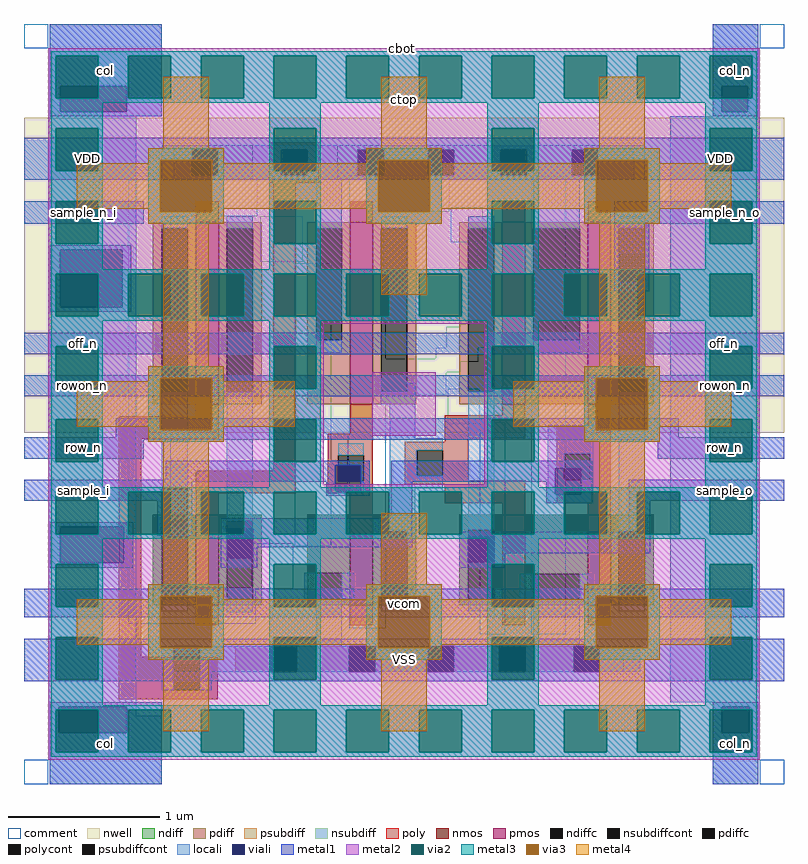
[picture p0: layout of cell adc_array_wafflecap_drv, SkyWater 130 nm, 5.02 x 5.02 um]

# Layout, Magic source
magic
tech sky130A
magscale 1 2
<< nwell >>
rect 0 464 1004 880
<< nmos >>
rect 227 236 257 356
rect 431 236 461 356
rect 632 236 662 356
rect 745 236 775 356
<< pmos >>
rect 227 502 257 742
rect 431 502 461 742
rect 632 502 662 742
rect 745 502 775 742
<< ndiff >>
rect 170 348 227 356
rect 170 244 182 348
rect 216 244 227 348
rect 170 236 227 244
rect 257 348 314 356
rect 257 244 268 348
rect 302 244 314 348
rect 257 236 314 244
rect 374 279 431 356
rect 374 244 386 279
rect 420 244 431 279
rect 374 236 431 244
rect 461 334 518 356
rect 461 244 472 334
rect 506 244 518 334
rect 461 236 518 244
rect 575 336 632 356
rect 575 244 587 336
rect 621 244 632 336
rect 575 236 632 244
rect 662 278 745 356
rect 662 244 673 278
rect 734 244 745 278
rect 662 236 745 244
rect 775 334 832 356
rect 775 244 786 334
rect 820 244 832 334
rect 775 236 832 244
<< pdiff >>
rect 170 734 227 742
rect 170 518 182 734
rect 216 518 227 734
rect 170 502 227 518
rect 257 734 314 742
rect 257 518 268 734
rect 302 518 314 734
rect 257 502 314 518
rect 374 734 431 742
rect 374 586 386 734
rect 420 586 431 734
rect 374 502 431 586
rect 461 734 518 742
rect 461 518 472 734
rect 506 518 518 734
rect 461 502 518 518
rect 575 734 632 742
rect 575 518 587 734
rect 621 518 632 734
rect 575 502 632 518
rect 662 734 745 742
rect 662 586 673 734
rect 734 586 745 734
rect 662 502 745 586
rect 775 734 832 742
rect 775 518 786 734
rect 820 518 832 734
rect 775 502 832 518
<< ndiffc >>
rect 182 244 216 348
rect 268 244 302 348
rect 386 244 420 279
rect 472 244 506 334
rect 587 244 621 336
rect 673 244 734 278
rect 786 244 820 334
<< pdiffc >>
rect 182 518 216 734
rect 268 518 302 734
rect 386 586 420 734
rect 472 518 506 734
rect 587 518 621 734
rect 673 586 734 734
rect 786 518 820 734
<< psubdiff >>
rect 279 148 326 182
rect 360 148 430 182
rect 464 148 534 182
rect 568 148 628 182
rect 662 148 726 182
rect 760 148 792 182
<< nsubdiff >>
rect 198 838 302 844
rect 198 804 222 838
rect 256 804 302 838
rect 198 798 302 804
rect 414 838 806 844
rect 414 804 441 838
rect 475 804 534 838
rect 568 804 630 838
rect 664 804 724 838
rect 758 804 806 838
rect 414 798 806 804
<< psubdiffcont >>
rect 326 148 360 182
rect 430 148 464 182
rect 534 148 568 182
rect 628 148 662 182
rect 726 148 760 182
<< nsubdiffcont >>
rect 222 804 256 838
rect 441 804 475 838
rect 534 804 568 838
rect 630 804 664 838
rect 724 804 758 838
<< poly >>
rect 324 838 390 848
rect 324 804 340 838
rect 374 804 390 838
rect 324 794 390 804
rect 227 742 257 770
rect 227 486 257 502
rect 125 456 257 486
rect 125 168 155 456
rect 329 414 359 794
rect 431 742 461 770
rect 632 742 662 770
rect 745 742 775 770
rect 431 463 461 502
rect 632 487 662 502
rect 227 384 359 414
rect 401 434 461 463
rect 556 457 662 487
rect 745 474 775 502
rect 556 452 587 457
rect 401 400 415 434
rect 449 400 461 434
rect 401 384 461 400
rect 503 441 587 452
rect 503 407 519 441
rect 553 407 587 441
rect 503 401 587 407
rect 704 436 775 474
rect 704 402 714 436
rect 748 402 775 436
rect 503 396 662 401
rect 227 356 257 384
rect 431 356 461 384
rect 556 371 662 396
rect 704 371 775 402
rect 632 356 662 371
rect 745 356 775 371
rect 227 210 257 236
rect 431 210 461 236
rect 632 210 662 236
rect 745 210 775 236
rect 125 158 256 168
rect 125 124 198 158
rect 232 124 256 158
rect 125 112 256 124
<< polycont >>
rect 340 804 374 838
rect 415 400 449 434
rect 519 407 553 441
rect 714 402 748 436
rect 198 124 232 158
<< locali >>
rect 34 922 182 1004
rect 34 888 48 922
rect 136 888 182 922
rect 34 882 182 888
rect 910 922 970 1004
rect 910 888 922 922
rect 956 888 970 922
rect 910 882 970 888
rect 34 706 148 882
rect 182 838 820 844
rect 182 804 222 838
rect 256 804 340 838
rect 374 804 441 838
rect 475 804 534 838
rect 568 804 630 838
rect 664 804 724 838
rect 758 804 820 838
rect 182 798 820 804
rect 34 630 48 706
rect 130 630 148 706
rect 34 340 148 630
rect 34 292 48 340
rect 132 292 148 340
rect 34 102 148 292
rect 182 734 216 750
rect 182 390 216 518
rect 182 228 216 244
rect 268 734 302 750
rect 386 734 420 798
rect 386 570 420 586
rect 472 734 506 750
rect 268 348 302 518
rect 471 518 472 536
rect 587 734 621 750
rect 506 518 517 530
rect 471 502 517 518
rect 483 457 517 502
rect 673 734 734 798
rect 673 570 734 586
rect 786 734 820 750
rect 415 434 449 450
rect 445 387 449 400
rect 415 384 449 387
rect 483 441 553 457
rect 483 407 519 441
rect 483 391 553 407
rect 483 350 517 391
rect 472 334 517 350
rect 370 244 386 279
rect 420 244 436 279
rect 506 319 517 334
rect 587 336 621 518
rect 692 436 752 474
rect 692 417 714 436
rect 692 383 702 417
rect 748 402 752 436
rect 736 383 752 402
rect 692 371 752 383
rect 268 227 302 244
rect 386 182 420 244
rect 472 228 506 244
rect 786 334 820 518
rect 587 228 621 244
rect 655 244 673 278
rect 734 244 752 278
rect 655 236 752 244
rect 673 182 734 236
rect 786 228 820 244
rect 182 124 198 182
rect 232 148 326 182
rect 360 148 430 182
rect 464 148 534 182
rect 568 148 628 182
rect 662 148 726 182
rect 760 148 814 182
rect 232 124 248 148
rect 854 108 970 882
rect 34 68 46 102
rect 136 90 148 102
rect 910 102 970 108
rect 136 68 182 90
rect 34 0 182 68
rect 910 68 922 102
rect 958 68 970 102
rect 910 0 970 68
<< viali >>
rect 48 888 136 922
rect 922 888 956 922
rect 222 804 256 838
rect 340 804 374 838
rect 441 804 475 838
rect 534 804 568 838
rect 630 804 664 838
rect 724 804 758 838
rect 48 630 130 706
rect 48 292 132 340
rect 182 348 216 390
rect 182 340 216 348
rect 786 663 820 701
rect 411 400 415 421
rect 415 400 445 421
rect 411 387 445 400
rect 268 298 302 337
rect 702 402 714 417
rect 714 402 736 417
rect 702 383 736 402
rect 587 293 621 327
rect 198 158 232 182
rect 198 148 232 158
rect 326 148 360 182
rect 430 148 464 182
rect 534 148 568 182
rect 628 148 662 182
rect 726 148 760 182
rect 46 68 136 102
rect 922 68 958 102
<< metal1 >>
rect 34 922 182 1004
rect 34 888 48 922
rect 136 888 182 922
rect 34 882 182 888
rect 910 922 970 1004
rect 910 888 922 922
rect 956 888 970 922
rect 910 882 970 888
rect 0 838 1004 854
rect 0 804 222 838
rect 256 804 340 838
rect 374 804 441 838
rect 475 804 534 838
rect 568 804 630 838
rect 664 804 724 838
rect 758 804 1004 838
rect 0 798 1004 804
rect 0 740 158 770
rect 780 740 1004 770
rect 34 706 142 712
rect 34 630 48 706
rect 130 630 142 706
rect 780 701 826 740
rect 780 663 786 701
rect 820 663 826 701
rect 780 651 826 663
rect 34 624 142 630
rect 0 568 1004 596
rect 0 512 1004 540
rect 121 458 865 483
rect 0 455 1004 458
rect 0 430 158 455
rect 837 430 1004 455
rect 187 421 457 427
rect 187 402 411 421
rect 0 399 411 402
rect 0 390 222 399
rect 0 374 182 390
rect 34 340 144 346
rect 34 292 48 340
rect 132 292 144 340
rect 176 340 182 374
rect 216 340 222 390
rect 399 387 411 399
rect 445 387 457 421
rect 399 381 457 387
rect 485 417 751 427
rect 485 399 702 417
rect 485 351 513 399
rect 690 383 702 399
rect 736 383 751 417
rect 690 371 751 383
rect 799 374 1004 402
rect 176 328 222 340
rect 260 337 513 351
rect 34 286 144 292
rect 260 298 268 337
rect 302 313 513 337
rect 799 333 827 374
rect 575 327 827 333
rect 302 298 308 313
rect 260 286 308 298
rect 575 293 587 327
rect 621 305 827 327
rect 621 293 635 305
rect 575 286 635 293
rect 0 220 1004 258
rect 0 182 1004 192
rect 0 148 198 182
rect 232 148 326 182
rect 360 148 430 182
rect 464 148 534 182
rect 568 148 628 182
rect 662 148 726 182
rect 760 148 1004 182
rect 0 136 1004 148
rect 34 102 182 108
rect 34 68 46 102
rect 136 68 182 102
rect 34 0 182 68
rect 910 102 970 108
rect 910 68 922 102
rect 958 68 970 102
rect 910 0 970 68
<< metal2 >>
rect 32 962 972 972
rect 32 906 42 962
rect 98 906 138 962
rect 194 906 234 962
rect 290 906 330 962
rect 386 906 426 962
rect 482 906 522 962
rect 578 906 618 962
rect 674 906 714 962
rect 770 906 810 962
rect 866 906 906 962
rect 962 906 972 962
rect 32 866 972 906
rect 32 810 42 866
rect 98 810 330 866
rect 386 810 618 866
rect 674 810 906 866
rect 962 810 972 866
rect 32 770 972 810
rect 32 714 42 770
rect 98 714 330 770
rect 386 714 618 770
rect 674 714 906 770
rect 962 714 972 770
rect 32 674 972 714
rect 32 618 42 674
rect 98 618 138 674
rect 194 618 234 674
rect 290 618 330 674
rect 386 618 426 674
rect 482 618 522 674
rect 578 618 618 674
rect 674 618 714 674
rect 770 618 810 674
rect 866 618 906 674
rect 962 618 972 674
rect 32 608 972 618
rect 32 578 396 608
rect 32 522 42 578
rect 98 522 330 578
rect 386 522 396 578
rect 608 578 972 608
rect 32 482 396 522
rect 32 426 42 482
rect 98 426 330 482
rect 386 426 396 482
rect 460 460 544 544
rect 608 522 618 578
rect 674 522 906 578
rect 962 522 972 578
rect 608 482 972 522
rect 32 396 396 426
rect 608 426 618 482
rect 674 426 906 482
rect 962 426 972 482
rect 608 396 972 426
rect 32 386 972 396
rect 32 330 42 386
rect 98 330 138 386
rect 194 330 234 386
rect 290 330 330 386
rect 386 330 426 386
rect 482 330 522 386
rect 578 330 618 386
rect 674 330 714 386
rect 770 330 810 386
rect 866 330 906 386
rect 962 330 972 386
rect 32 290 972 330
rect 32 234 42 290
rect 98 234 330 290
rect 386 234 618 290
rect 674 234 906 290
rect 962 234 972 290
rect 32 194 972 234
rect 32 138 42 194
rect 98 138 330 194
rect 386 138 618 194
rect 674 138 906 194
rect 962 138 972 194
rect 32 98 972 138
rect 32 42 42 98
rect 98 42 138 98
rect 194 42 234 98
rect 290 42 330 98
rect 386 42 426 98
rect 482 42 522 98
rect 578 42 618 98
rect 674 42 714 98
rect 770 42 810 98
rect 866 42 906 98
rect 962 42 972 98
rect 32 32 972 42
<< via2 >>
rect 42 906 98 962
rect 138 906 194 962
rect 234 906 290 962
rect 330 906 386 962
rect 426 906 482 962
rect 522 906 578 962
rect 618 906 674 962
rect 714 906 770 962
rect 810 906 866 962
rect 906 906 962 962
rect 42 810 98 866
rect 330 810 386 866
rect 618 810 674 866
rect 906 810 962 866
rect 42 714 98 770
rect 330 714 386 770
rect 618 714 674 770
rect 906 714 962 770
rect 42 618 98 674
rect 138 618 194 674
rect 234 618 290 674
rect 330 618 386 674
rect 426 618 482 674
rect 522 618 578 674
rect 618 618 674 674
rect 714 618 770 674
rect 810 618 866 674
rect 906 618 962 674
rect 42 522 98 578
rect 330 522 386 578
rect 42 426 98 482
rect 330 426 386 482
rect 618 522 674 578
rect 906 522 962 578
rect 618 426 674 482
rect 906 426 962 482
rect 42 330 98 386
rect 138 330 194 386
rect 234 330 290 386
rect 330 330 386 386
rect 426 330 482 386
rect 522 330 578 386
rect 618 330 674 386
rect 714 330 770 386
rect 810 330 866 386
rect 906 330 962 386
rect 42 234 98 290
rect 330 234 386 290
rect 618 234 674 290
rect 906 234 962 290
rect 42 138 98 194
rect 330 138 386 194
rect 618 138 674 194
rect 906 138 962 194
rect 42 42 98 98
rect 138 42 194 98
rect 234 42 290 98
rect 330 42 386 98
rect 426 42 482 98
rect 522 42 578 98
rect 618 42 674 98
rect 714 42 770 98
rect 810 42 866 98
rect 906 42 962 98
<< metal3 >>
rect 36 962 968 968
rect 36 906 42 962
rect 98 906 138 962
rect 194 906 234 962
rect 290 906 330 962
rect 386 906 426 962
rect 482 906 522 962
rect 578 906 618 962
rect 674 906 714 962
rect 770 906 810 962
rect 866 906 906 962
rect 962 906 968 962
rect 36 900 968 906
rect 36 866 104 900
rect 36 810 42 866
rect 98 810 104 866
rect 324 866 392 900
rect 36 770 104 810
rect 36 714 42 770
rect 98 714 104 770
rect 164 824 264 840
rect 164 756 180 824
rect 248 756 264 824
rect 164 740 264 756
rect 324 810 330 866
rect 386 810 392 866
rect 612 866 680 900
rect 324 770 392 810
rect 36 680 104 714
rect 324 714 330 770
rect 386 714 392 770
rect 452 824 552 840
rect 452 756 468 824
rect 536 756 552 824
rect 452 740 552 756
rect 612 810 618 866
rect 674 810 680 866
rect 900 866 968 900
rect 612 770 680 810
rect 324 680 392 714
rect 612 714 618 770
rect 674 714 680 770
rect 740 824 840 840
rect 740 756 756 824
rect 824 756 840 824
rect 740 740 840 756
rect 900 810 906 866
rect 962 810 968 866
rect 900 770 968 810
rect 612 680 680 714
rect 900 714 906 770
rect 962 714 968 770
rect 900 680 968 714
rect 36 674 968 680
rect 36 618 42 674
rect 98 618 138 674
rect 194 618 234 674
rect 290 618 330 674
rect 386 618 426 674
rect 482 618 522 674
rect 578 618 618 674
rect 674 618 714 674
rect 770 618 810 674
rect 866 618 906 674
rect 962 618 968 674
rect 36 612 968 618
rect 36 578 104 612
rect 36 522 42 578
rect 98 522 104 578
rect 324 578 392 612
rect 36 482 104 522
rect 36 426 42 482
rect 98 426 104 482
rect 164 536 264 552
rect 164 468 180 536
rect 248 468 264 536
rect 164 452 264 468
rect 324 522 330 578
rect 386 522 392 578
rect 324 482 392 522
rect 36 392 104 426
rect 324 426 330 482
rect 386 426 392 482
rect 324 392 392 426
rect 612 578 680 612
rect 612 522 618 578
rect 674 522 680 578
rect 900 578 968 612
rect 612 482 680 522
rect 612 426 618 482
rect 674 426 680 482
rect 740 536 840 552
rect 740 468 756 536
rect 824 468 840 536
rect 740 452 840 468
rect 900 522 906 578
rect 962 522 968 578
rect 900 482 968 522
rect 612 392 680 426
rect 900 426 906 482
rect 962 426 968 482
rect 900 392 968 426
rect 36 386 968 392
rect 36 330 42 386
rect 98 330 138 386
rect 194 330 234 386
rect 290 330 330 386
rect 386 330 426 386
rect 482 330 522 386
rect 578 330 618 386
rect 674 330 714 386
rect 770 330 810 386
rect 866 330 906 386
rect 962 330 968 386
rect 36 324 968 330
rect 36 290 104 324
rect 36 234 42 290
rect 98 234 104 290
rect 324 290 392 324
rect 36 194 104 234
rect 36 138 42 194
rect 98 138 104 194
rect 164 248 264 264
rect 164 180 180 248
rect 248 180 264 248
rect 164 164 264 180
rect 324 234 330 290
rect 386 234 392 290
rect 612 290 680 324
rect 324 194 392 234
rect 36 104 104 138
rect 324 138 330 194
rect 386 138 392 194
rect 452 248 552 264
rect 452 180 468 248
rect 536 180 552 248
rect 452 164 552 180
rect 612 234 618 290
rect 674 234 680 290
rect 900 290 968 324
rect 612 194 680 234
rect 324 104 392 138
rect 612 138 618 194
rect 674 138 680 194
rect 740 248 840 264
rect 740 180 756 248
rect 824 180 840 248
rect 740 164 840 180
rect 900 234 906 290
rect 962 234 968 290
rect 900 194 968 234
rect 612 104 680 138
rect 900 138 906 194
rect 962 138 968 194
rect 900 104 968 138
rect 36 98 968 104
rect 36 42 42 98
rect 98 42 138 98
rect 194 42 234 98
rect 290 42 330 98
rect 386 42 426 98
rect 482 42 522 98
rect 578 42 618 98
rect 674 42 714 98
rect 770 42 810 98
rect 866 42 906 98
rect 962 42 968 98
rect 36 36 968 42
<< via3 >>
rect 180 756 248 824
rect 468 756 536 824
rect 756 756 824 824
rect 180 468 248 536
rect 756 468 824 536
rect 180 180 248 248
rect 468 180 536 248
rect 756 180 824 248
<< metal4 >>
rect 184 840 244 934
rect 472 840 532 934
rect 760 840 820 934
rect 164 824 264 840
rect 164 820 180 824
rect 70 760 180 820
rect 164 756 180 760
rect 248 820 264 824
rect 452 824 552 840
rect 452 820 468 824
rect 248 760 468 820
rect 248 756 264 760
rect 164 740 264 756
rect 452 756 468 760
rect 536 820 552 824
rect 740 824 840 840
rect 740 820 756 824
rect 536 760 756 820
rect 536 756 552 760
rect 452 740 552 756
rect 740 756 756 760
rect 824 820 840 824
rect 824 760 934 820
rect 824 756 840 760
rect 740 740 840 756
rect 184 552 244 740
rect 472 646 532 740
rect 760 552 820 740
rect 164 536 264 552
rect 164 532 180 536
rect 70 472 180 532
rect 164 468 180 472
rect 248 532 264 536
rect 740 536 840 552
rect 740 532 756 536
rect 248 472 358 532
rect 646 472 756 532
rect 248 468 264 472
rect 164 452 264 468
rect 740 468 756 472
rect 824 532 840 536
rect 824 472 934 532
rect 824 468 840 472
rect 740 452 840 468
rect 184 264 244 452
rect 472 264 532 358
rect 760 264 820 452
rect 164 248 264 264
rect 164 244 180 248
rect 70 184 180 244
rect 164 180 180 184
rect 248 244 264 248
rect 452 248 552 264
rect 452 244 468 248
rect 248 184 468 244
rect 248 180 264 184
rect 164 164 264 180
rect 452 180 468 184
rect 536 244 552 248
rect 740 248 840 264
rect 740 244 756 248
rect 536 184 756 244
rect 536 180 552 184
rect 452 164 552 180
rect 740 180 756 184
rect 824 244 840 248
rect 824 184 934 244
rect 824 180 840 184
rect 740 164 840 180
rect 184 70 244 164
rect 472 70 532 164
rect 760 70 820 164
<< comment >>
rect 0 972 32 1004
rect 972 972 1004 1004
rect 138 750 308 798
rect 430 756 562 804
rect 138 260 194 750
rect 312 690 368 750
rect 358 428 406 688
rect 430 562 478 756
rect 564 716 606 762
rect 598 608 632 716
rect 576 604 632 608
rect 558 602 632 604
rect 558 576 608 602
rect 544 562 600 576
rect 430 558 600 562
rect 430 544 576 558
rect 430 514 558 544
rect 430 460 478 514
rect 560 478 602 522
rect 560 476 636 478
rect 428 428 478 460
rect 358 396 428 428
rect 300 260 356 318
rect 358 314 406 396
rect 138 258 356 260
rect 138 212 306 258
rect 430 206 478 428
rect 602 198 636 476
rect 670 198 716 802
rect 0 0 32 32
rect 972 0 1004 32
<< labels >>
flabel metal1 837 798 1004 854 0 FreeSans 160 0 0 0 VDD
port 1 e power bidirectional
flabel metal1 0 136 1004 192 0 FreeSans 320 0 0 0 VSS
port 2 nsew ground bidirectional
flabel metal4 472 874 532 934 1 FreeSans 160 0 0 0 ctop
port 4 n
flabel metal1 34 0 182 108 5 FreeSans 320 0 0 0 col
port 5 s
flabel metal1 34 882 182 1004 1 FreeSans 320 0 0 0 col
port 5 n
flabel metal1 910 882 970 1004 1 FreeSans 320 0 0 0 col_n
port 6 n
flabel metal1 846 430 1004 458 0 FreeSans 160 0 0 0 row_n
port 7 e
flabel metal1 0 512 155 540 0 FreeSans 160 0 0 0 rowon_n
port 8 w
flabel metal1 849 512 1004 540 0 FreeSans 160 0 0 0 rowon_n
port 8 e
flabel metal1 846 374 1004 402 0 FreeSans 160 0 0 0 sample_o
port 10 e
flabel metal1 846 740 1004 770 0 FreeSans 160 0 0 0 sample_n_o
port 12 nsew
flabel metal1 0 568 156 596 7 FreeSans 160 0 0 0 off_n
port 13 w
flabel metal1 848 568 1004 596 3 FreeSans 160 0 0 0 off_n
port 13 e
rlabel metal2 500 972 500 972 1 cbot
flabel metal1 910 0 970 108 1 FreeSans 320 0 0 0 col_n
port 6 s
flabel metal1 0 798 167 854 0 FreeSans 160 0 0 0 VDD
port 1 w power bidirectional
flabel metal1 0 740 158 770 0 FreeSans 160 0 0 0 sample_n_i
port 11 nsew
flabel metal1 0 374 158 402 0 FreeSans 160 0 0 0 sample_i
port 9 w
flabel metal1 0 430 158 458 0 FreeSans 160 0 0 0 row_n
port 7 w
flabel metal1 0 220 1004 258 0 FreeSans 320 0 0 0 vcom
port 3 nsew
<< end >>
